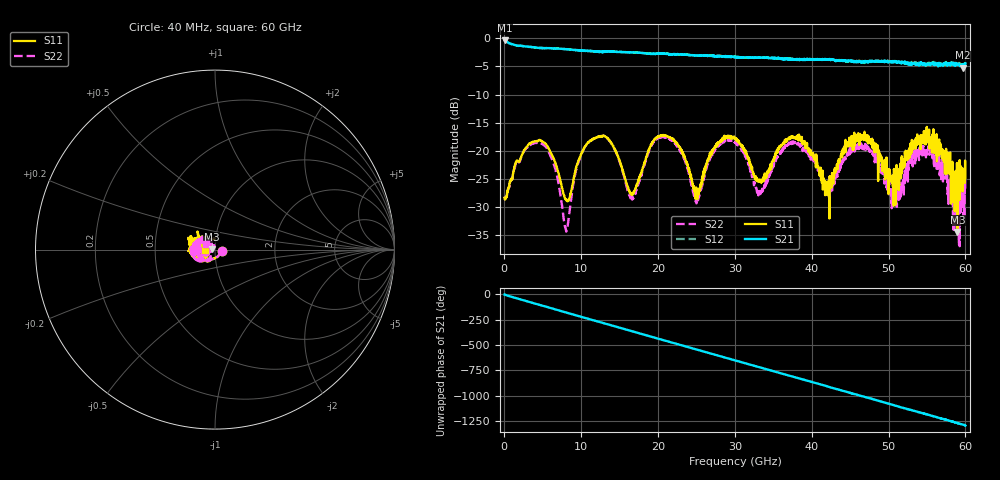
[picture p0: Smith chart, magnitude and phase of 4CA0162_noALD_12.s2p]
! File created by 'SoftPlot +Plus+ Measurement Management Software'
! SoftPlot +Plus+ Measurement Management Software
! Start 40.000000 MHz  Stop 60.000000 GHz  Points 1601
# MHZ S RI R 50
! S-Parameter data, F S11 S21 S12 S22
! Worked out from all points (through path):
!   1601 points, 40 MHz to 60 GHz, reference 50 ohm
!   highest |S21| = -0.38 dB at 40 MHz (marker M1); lowest = -5.2 dB at 59.66 GHz (marker M2)
!   group delay of S21, straight-line fit = 59.6 ps
!   lowest |S11| = -34.5 dB at 58.95 GHz (marker M3), VSWR 1.04, Z = 48.2 + j0.329 ohm
!   |S11| at or under -10 dB: start of sweep to end of sweep
!   |S22| runs from -37.0 to -17.3 dB; largest |S21 - S12| = 0.048
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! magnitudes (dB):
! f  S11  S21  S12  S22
! 40 MHz  -28.4  -0.4  -0.4  -28.2
! 4.762 GHz  -18.1  -1.7  -1.7  -18.7
! 6.523 GHz  -21.7  -1.8  -1.8  -22.7
! 8.06 GHz  -28.6  -1.9  -1.9  -34.4
! 10.05 GHz  -20.5  -2.2  -2.2  -20.5
! 13.27 GHz  -17.6  -2.3  -2.3  -17.6
! 16.6 GHz  -27.8  -2.5  -2.5  -28.1
! 20.05 GHz  -17.5  -2.7  -2.7  -17.7
! 22.79 GHz  -19.3  -2.9  -2.9  -19.8
! 25.04 GHz  -27.2  -3.1  -3.0  -29.1
! 27.43 GHz  -19.2  -3.2  -3.2  -19.7
! 30.02 GHz  -17.9  -3.3  -3.2  -18.5
! 33.21 GHz  -25.1  -3.4  -3.4  -27.6
! 36.84 GHz  -17.9  -3.7  -3.7  -18.9
! 40.03 GHz  -20.8  -3.7  -3.7  -21.4
! 42.01 GHz  -26.7  -3.8  -3.8  -26.9
! 45.83 GHz  -18.1  -4.1  -4.0  -19.1
! 50.03 GHz  -23.7  -4.2  -4.1  -27.7
! 55.35 GHz  -17.9  -4.6  -4.6  -20.0
! 58.95 GHz  -34.5  -4.5  -4.6  -28.3
! 59.66 GHz  -26.8  -5.2  -5.0  -26.6
! 60 GHz  -24.9  -4.4  -4.7  -24.5
